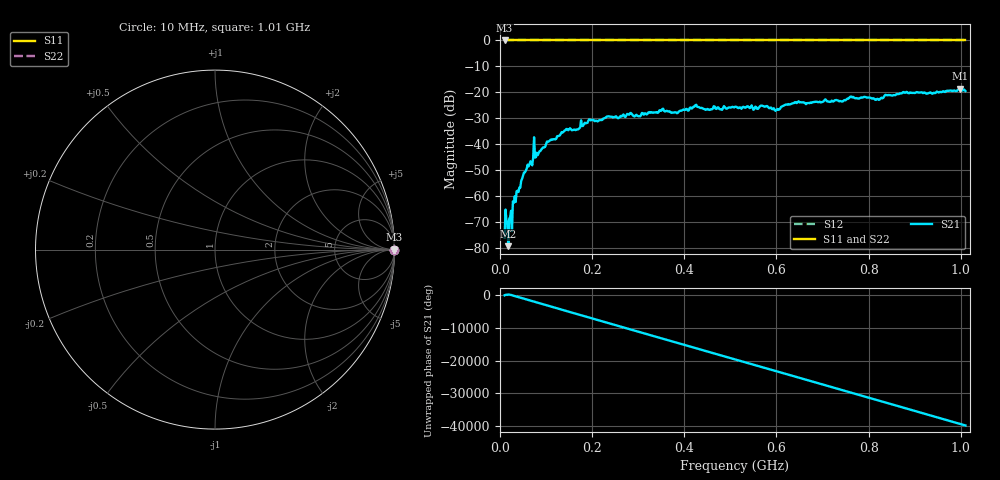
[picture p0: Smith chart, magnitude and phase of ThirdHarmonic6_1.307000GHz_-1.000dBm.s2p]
! 8/16/2025 2:25:53 PM
! C:\ANRITSUVNA\TEMP\TEMP.S2P
! CHANNEL.1
! TR.MEASUREMENT
! RAW.DATA
! RF.CORRECTION.OFF
! AVERAGING.OFF
! IF.BANDWIDTH: 5KHZ
! SWEEPTYPE:  FREQ.SWEEP(Linear)
! Reference Plane Port Info
! PORT:  PORT1  PORT2
! DISTANCE:  0  m  0  m
! TIME:  0  s  0  s
! PHASE.OFFSET:  0  deg.  0  deg.
! LOSS:  0  dB  0  dB
! REF.LOSS:  0  dB  0  dB
! REF.FREQ:  0  Hz  0  Hz
! Power Info
! POWER:  -20  dBm  -20  dBm
! EFF.POWER:  -20  dBm  -20  dBm
! SOURCE.ATTEN:  0  dB  0  dB
! TEST.ATTEN:  0  dB  0  dB
# GHZ S RI R 50.0
! FREQ.GHZ  S11RE  S11IM  S21RE  S21IM  S12RE  S12IM  S22RE  S22IM
!; PortSelection: Port_12
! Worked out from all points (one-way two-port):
!   501 points, 10 MHz to 1.01 GHz, reference 50 ohm
!   highest |S21| = -18.64 dB at 998 MHz (marker M1); lowest = -79.3 dB at 18 MHz (marker M2)
!   lowest |S11| = 0.0 dB at 10 MHz (marker M3)
!   |S11| at or under -10 dB: nowhere
!   |S22| runs from 0.0 to 0.0 dB; largest |S21 - S12| = 1.1
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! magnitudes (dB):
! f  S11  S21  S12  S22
! 10 MHz  0.0  -76.1  0.0  0.0
! 18 MHz  0.0  -79.3  0.0  0.0
! 22 MHz  0.0  -68.1  0.0  0.0
! 24 MHz  0.0  -65.7  0.0  0.0
! 30 MHz  0.0  -62.7  0.0  0.0
! 32 MHz  0.0  -60.1  0.0  0.0
! 50 MHz  0.0  -52.2  0.0  0.0
! 76 MHz  0.0  -45.2  0.0  0.0
! 80 MHz  0.0  -43.3  0.0  0.0
! 106 MHz  0.0  -38.9  0.0  0.0
! 142 MHz  0.0  -34.6  0.0  0.0
! 178 MHz  0.0  -33.0  0.0  0.0
! 234 MHz  0.0  -29.3  0.0  0.0
! 344 MHz  0.0  -27.7  0.0  0.0
! 424 MHz  0.0  -25.0  0.0  0.0
! 510 MHz  0.0  -25.6  0.0  0.0
! 600 MHz  0.0  -26.8  0.0  0.0
! 644 MHz  0.0  -24.2  0.0  0.0
! 678 MHz  0.0  -23.9  0.0  0.0
! 844 MHz  0.0  -21.0  0.0  0.0
! 998 MHz  0.0  -18.6  0.0  0.0
! 1.01 GHz  0.0  -19.5  0.0  0.0
